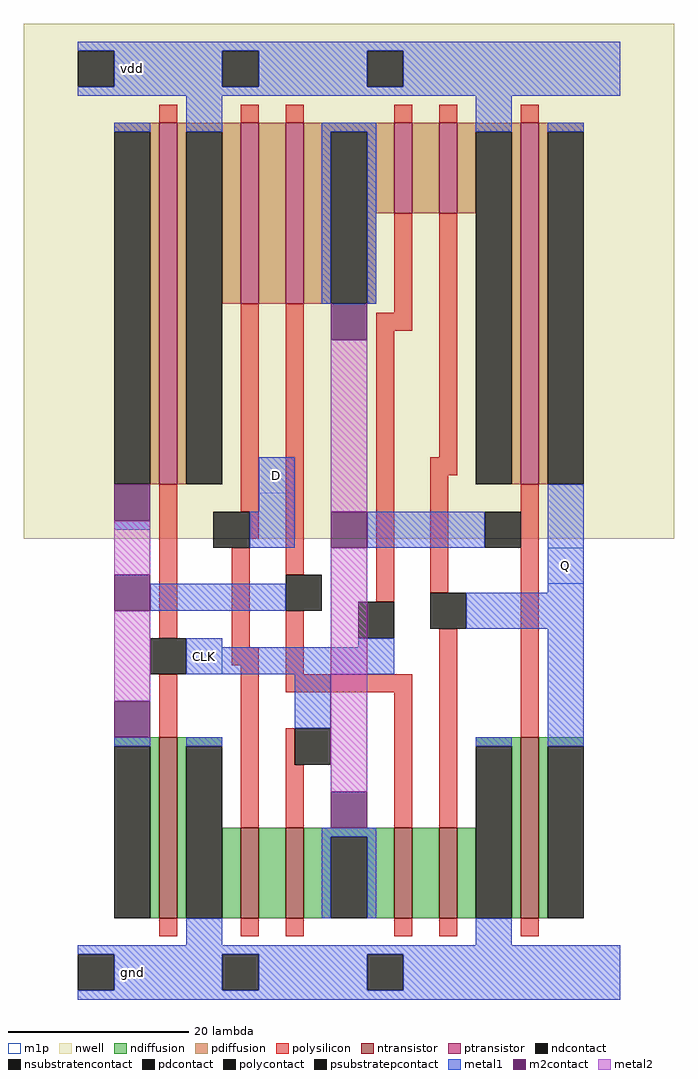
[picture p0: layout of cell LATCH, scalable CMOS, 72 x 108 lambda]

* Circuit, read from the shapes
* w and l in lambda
.subckt LATCH CLK D Q gnd vdd
M1 gnd CLK n1 gnd nfet w=20 l=2
M2 n2 D gnd gnd nfet w=10 l=2
M3 n3 CLK n2 gnd nfet w=10 l=2
M4 n4 n1 n3 gnd nfet w=10 l=2
M5 gnd Q n4 gnd nfet w=10 l=2
M6 Q n3 gnd gnd nfet w=20 l=2
M7 vdd CLK n1 vdd pfet w=40 l=2
M8 n5 D vdd vdd pfet w=20 l=2
M9 n3 n1 n5 vdd pfet w=20 l=2
M10 n6 CLK n3 vdd pfet w=10 l=2
M11 vdd Q n6 vdd pfet w=10 l=2
M12 Q n3 vdd vdd pfet w=40 l=2
.ends

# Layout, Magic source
magic
tech scmos
<< nwell >>
rect -8 48 64 105
<< ntransistor >>
rect 7 6 9 26
rect 16 6 18 16
rect 21 6 23 16
rect 33 6 35 16
rect 38 6 40 16
rect 47 6 49 26
<< ptransistor >>
rect 7 54 9 94
rect 16 74 18 94
rect 21 74 23 94
rect 33 84 35 94
rect 38 84 40 94
rect 47 54 49 94
<< ndiffusion >>
rect 2 25 7 26
rect 6 6 7 25
rect 9 25 14 26
rect 9 6 10 25
rect 42 25 47 26
rect 14 6 16 16
rect 18 6 21 16
rect 23 15 33 16
rect 23 6 26 15
rect 30 6 33 15
rect 35 6 38 16
rect 40 6 42 16
rect 46 6 47 25
rect 49 25 54 26
rect 49 6 50 25
<< pdiffusion >>
rect 2 93 7 94
rect 6 54 7 93
rect 9 93 16 94
rect 9 54 10 93
rect 14 74 16 93
rect 18 74 21 94
rect 23 93 33 94
rect 23 74 26 93
rect 30 84 33 93
rect 35 84 38 94
rect 40 93 47 94
rect 40 84 42 93
rect 30 74 31 84
rect 46 54 47 93
rect 49 93 54 94
rect 49 54 50 93
<< ndcontact >>
rect 2 6 6 25
rect 10 6 14 25
rect 26 6 30 15
rect 42 6 46 25
rect 50 6 54 25
<< pdcontact >>
rect 2 54 6 93
rect 10 54 14 93
rect 26 74 30 93
rect 42 54 46 93
rect 50 54 54 93
<< psubstratepcontact >>
rect -2 -2 2 2
rect 14 -2 18 2
rect 30 -2 34 2
<< nsubstratencontact >>
rect -2 98 2 102
rect 14 98 18 102
rect 30 98 34 102
<< polysilicon >>
rect 7 94 9 96
rect 16 94 18 96
rect 21 94 23 96
rect 33 94 35 96
rect 38 94 40 96
rect 47 94 49 96
rect 7 37 9 54
rect 16 51 18 74
rect 17 48 18 51
rect 15 36 17 47
rect 21 44 23 74
rect 33 73 35 84
rect 31 71 35 73
rect 31 41 33 71
rect 38 57 40 84
rect 15 34 18 36
rect 7 26 9 33
rect 16 16 18 34
rect 21 33 23 40
rect 37 55 40 57
rect 37 42 39 55
rect 21 31 35 33
rect 21 23 22 27
rect 21 16 23 23
rect 33 16 35 31
rect 38 16 40 38
rect 47 26 49 54
rect 7 4 9 6
rect 16 4 18 6
rect 21 4 23 6
rect 33 4 35 6
rect 38 4 40 6
rect 47 4 49 6
<< polycontact >>
rect 13 47 17 51
rect 6 33 10 37
rect 21 40 25 44
rect 29 37 33 41
rect 43 47 47 51
rect 37 38 41 42
rect 22 23 26 27
<< metal1 >>
rect -2 102 58 103
rect 2 98 14 102
rect 18 98 30 102
rect 34 98 58 102
rect -2 97 58 98
rect 2 93 6 94
rect 10 93 14 97
rect 25 93 31 94
rect 25 74 26 93
rect 30 74 31 93
rect 42 93 46 97
rect 18 51 22 57
rect 50 93 54 94
rect 2 49 6 50
rect 17 47 22 51
rect 30 47 43 51
rect 6 40 21 43
rect 50 42 54 54
rect 41 38 54 42
rect 10 36 14 37
rect 29 36 33 37
rect 10 33 33 36
rect 22 27 26 33
rect 2 25 6 26
rect 10 25 14 26
rect 42 25 46 26
rect 25 15 31 16
rect 25 6 26 15
rect 30 6 31 15
rect 50 25 54 38
rect 10 3 14 6
rect 42 3 46 6
rect -2 2 58 3
rect 2 -2 14 2
rect 18 -2 30 2
rect 34 -2 58 2
rect -2 -3 58 -2
<< m2contact >>
rect 26 70 30 74
rect 2 50 6 54
rect 26 47 30 51
rect 2 40 6 44
rect 2 26 6 30
rect 26 16 30 20
<< metal2 >>
rect 2 44 6 50
rect 2 30 6 40
rect 26 51 30 70
rect 26 20 30 47
<< m1p >>
rect 18 53 22 57
rect 50 43 54 47
rect 10 33 14 37
<< labels >>
rlabel metal1 20 55 20 55 4 D
rlabel metal1 52 45 52 45 4 Q
rlabel metal1 4 0 4 0 4 gnd
rlabel metal1 4 100 4 100 4 vdd
rlabel metal1 12 35 12 35 4 CLK
<< end >>
